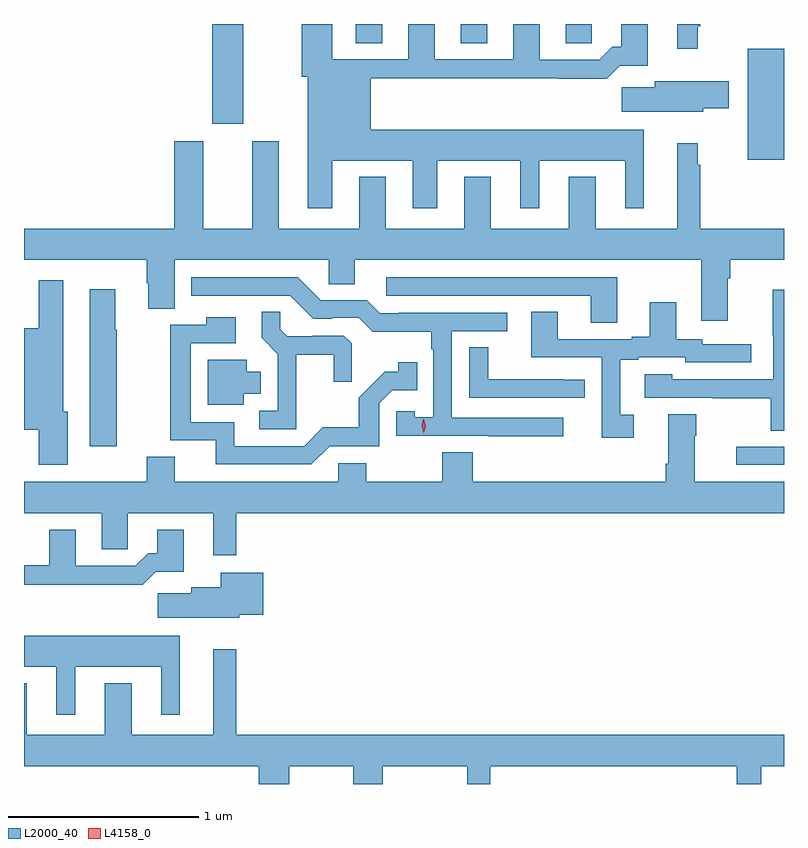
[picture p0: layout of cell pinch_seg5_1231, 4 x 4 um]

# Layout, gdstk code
import gdstk
lib = gdstk.Library(unit=1e-6, precision=1e-09)
def R(c, l, rs):  # rectangles x0, y0, x1, y1
    for r in rs: c.add(gdstk.rectangle(r[:2], r[2:], *l))
def P(c, l, *ps):  # polygons
    for p in ps: c.add(gdstk.Polygon(p, *l))
L2000_40 = (2000, 40)
L4158_0 = (4158, 0)

pinch_seg5_1231 = lib.new_cell('pinch_seg5_1231')
R(pinch_seg5_1231, L2000_40, [(457.809,870.333,458.061,870.429), (457.871,871.94,458.061,872.524), (455.051,872.13,455.215,872.654), (455.807,872.554,455.947,872.654), (456.359,872.554,456.499,872.654), (456.911,872.554,457.05,872.654)])
P(pinch_seg5_1231, L2000_40, [(455.683,871.934),(456.107,871.934),(456.107,871.683),(456.235,871.683),(456.235,871.934),(456.674,871.934),(456.674,871.683),(456.772,871.683),(456.772,871.934),(457.226,871.934),(457.226,871.683),(457.324,871.683),(457.324,872.098),(455.887,872.098),(455.887,872.368),(456.871,872.368),(456.871,872.366),(457.127,872.366),(457.196,872.435),(457.345,872.435),(457.345,872.654),(457.205,872.654),(457.205,872.533),(457.156,872.533),(457.089,872.466),(456.775,872.466),(456.775,872.654),(456.635,872.654),(456.635,872.469),(456.223,872.469),(456.223,872.654),(456.083,872.654),(456.083,872.469),(455.683,872.469),(455.683,872.654),(455.524,872.654),(455.524,872.376),(455.555,872.376),(455.555,871.683),(455.683,871.683)],
  [(457.606,872.642),(457.621,872.642),(457.621,872.654),(457.499,872.654),(457.499,872.523),(457.606,872.523)],
  [(457.636,872.21),(457.771,872.21),(457.771,872.353),(457.382,872.353),(457.382,872.321),(457.206,872.321),(457.206,872.192),(457.636,872.192)],
  [(457.765,871.316),(457.778,871.316),(457.778,871.412),(458.061,871.412),(458.061,871.576),(457.621,871.576),(457.621,871.913),(457.606,871.913),(457.606,872.026),(457.499,872.026),(457.499,871.576),(457.069,871.576),(457.069,871.849),(456.929,871.849),(456.929,871.576),(456.517,871.576),(456.517,871.849),(456.377,871.849),(456.377,871.576),(455.965,871.576),(455.965,871.849),(455.825,871.849),(455.825,871.576),(455.401,871.576),(455.401,872.038),(455.261,872.038),(455.261,871.576),(455.005,871.576),(455.005,872.038),(454.853,872.038),(454.853,871.576),(454.061,871.576),(454.061,871.412),(454.708,871.412),(454.708,871.29),(454.715,871.29),(454.715,871.156),(454.855,871.156),(454.855,871.412),(455.664,871.412),(455.664,871.285),(455.803,871.285),(455.803,871.412),(457.625,871.412),(457.625,871.092),(457.765,871.092)],
  [(457.183,871.32),(455.967,871.32),(455.967,871.224),(457.043,871.224),(457.043,871.081),(457.183,871.081)],
  [(456.898,870.582),(456.312,870.582),(456.312,871.038),(456.604,871.038),(456.604,871.134),(456.034,871.134),(456.034,871.131),(455.934,871.131),(455.865,871.2),(455.622,871.2),(455.502,871.32),(454.94,871.32),(454.94,871.224),(455.463,871.224),(455.583,871.104),(455.684,871.104),(455.684,871.107),(455.823,871.107),(455.896,871.034),(456.204,871.034),(456.204,870.941),(456.216,870.941),(456.216,870.583),(456.117,870.583),(456.117,870.615),(456.021,870.615),(456.021,870.486),(456.505,870.486),(456.505,870.484),(456.898,870.484)],
  [(454.291,870.612),(454.267,870.612),(454.267,871.306),(454.139,871.306),(454.139,871.054),(454.061,871.054),(454.061,870.519),(454.139,870.519),(454.139,870.333),(454.291,870.333)],
  [(454.548,871.045),(454.54,871.045),(454.54,871.258),(454.406,871.258),(454.406,870.432),(454.548,870.432)],
  [(458.061,871.255),(458.002,871.255),(458.002,871.016),(458.004,871.016),(458.004,870.783),(457.473,870.783),(457.473,870.811),(457.329,870.811),(457.329,870.687),(457.687,870.687),(457.687,870.685),(457.992,870.685),(457.992,870.514),(458.061,870.514)],
  [(457.27,870.597),(457.198,870.597),(457.198,870.888),(457.294,870.888),(457.294,870.9),(457.542,870.9),(457.542,870.873),(457.888,870.873),(457.888,870.969),(457.632,870.969),(457.632,870.996),(457.495,870.996),(457.495,871.189),(457.355,871.189),(457.355,871.009),(457.259,871.009),(457.259,870.996),(456.871,870.996),(456.871,871.139),(456.731,871.139),(456.731,870.9),(457.101,870.9),(457.101,870.477),(457.27,870.477)],
  [(455.495,870.914),(455.692,870.914),(455.692,870.771),(455.786,870.771),(455.786,870.973),(455.745,871.014),(455.58,871.014),(455.58,871.011),(455.446,871.011),(455.409,871.048),(455.409,871.139),(455.311,871.139),(455.311,871.003),(455.397,870.917),(455.397,870.618),(455.298,870.618),(455.298,870.522),(455.495,870.522)],
  [(455.67,870.432),(455.931,870.432),(455.931,870.657),(456,870.726),(456.131,870.726),(456.131,870.874),(456.03,870.874),(456.03,870.824),(455.96,870.824),(455.823,870.686),(455.823,870.531),(455.634,870.531),(455.535,870.432),(455.167,870.432),(455.167,870.558),(454.938,870.558),(454.938,870.975),(455.176,870.975),(455.176,871.111),(455.02,871.111),(455.02,871.071),(454.83,871.071),(454.83,870.462),(455.069,870.462),(455.069,870.336),(455.574,870.336)],
  [(457.012,870.782),(456.899,870.782),(456.899,870.783),(456.504,870.783),(456.504,870.953),(456.405,870.953),(456.405,870.687),(457.012,870.687)],
  [(455.218,870.707),(455.308,870.707),(455.308,870.823),(455.233,870.823),(455.233,870.886),(455.027,870.886),(455.027,870.65),(455.218,870.65)],
  [(455.179,870.08),(458.061,870.08),(458.061,870.244),(457.591,870.244),(457.591,870.488),(457.599,870.488),(457.599,870.601),(457.451,870.601),(457.451,870.34),(457.439,870.34),(457.439,870.244),(456.422,870.244),(456.422,870.401),(456.262,870.401),(456.262,870.244),(455.862,870.244),(455.862,870.342),(455.715,870.342),(455.715,870.244),(454.855,870.244),(454.855,870.377),(454.708,870.377),(454.708,870.244),(454.061,870.244),(454.061,870.08),(454.469,870.08),(454.469,869.89),(454.608,869.89),(454.608,870.08),(455.057,870.08),(455.057,869.859),(455.179,869.859)],
  [(454.754,869.771),(454.903,869.771),(454.903,869.992),(454.763,869.992),(454.763,869.869),(454.714,869.869),(454.647,869.802),(454.333,869.802),(454.333,869.992),(454.193,869.992),(454.193,869.805),(454.061,869.805),(454.061,869.704),(454.429,869.704),(454.429,869.702),(454.685,869.702)],
  [(455.194,869.546),(455.32,869.546),(455.32,869.767),(455.096,869.767),(455.096,869.689),(454.94,869.689),(454.94,869.657),(454.764,869.657),(454.764,869.528),(455.194,869.528)],
  [(454.33,869.27),(454.784,869.27),(454.784,869.019),(454.882,869.019),(454.882,869.434),(454.061,869.434),(454.061,869.27),(454.232,869.27),(454.232,869.019),(454.33,869.019)],
  [(455.457,868.748),(455.794,868.748),(455.794,868.654),(455.949,868.654),(455.949,868.748),(456.395,868.748),(456.395,868.654),(456.514,868.654),(456.514,868.748),(457.813,868.748),(457.813,868.654),(457.942,868.654),(457.942,868.748),(458.061,868.748),(458.061,868.912),(455.179,868.912),(455.179,869.362),(455.057,869.362),(455.057,868.912),(454.627,868.912),(454.627,869.185),(454.487,869.185),(454.487,868.912),(454.075,868.912),(454.075,869.185),(454.061,869.185),(454.061,868.748),(455.297,868.748),(455.297,868.654),(455.457,868.654)])
P(pinch_seg5_1231, L4158_0, [(456.166,870.501),(456.166,870.502),(456.155,870.537),(456.163,870.573),(456.164,870.573),(456.164,870.573),(456.175,870.538),(456.166,870.502)])

lib.write_gds('pinch_seg5_1231.gds')
